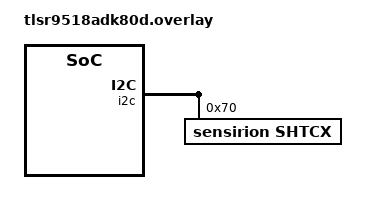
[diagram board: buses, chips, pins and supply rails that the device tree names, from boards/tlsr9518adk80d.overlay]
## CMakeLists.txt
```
#
# Copyright (c) 2018 Peter Bigot Consulting, LLC
#
# SPDX-License-Identifier: Apache-2.0
#

cmake_minimum_required(VERSION 3.20.0)
find_package(Zephyr REQUIRED HINTS $ENV{ZEPHYR_BASE})
project(shtcx)

FILE(GLOB app_sources src/*.c)
target_sources(app PRIVATE ${app_sources})
```

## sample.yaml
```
#
# Copyright (c) 2018 Peter Bigot Consulting, LLC
#
# SPDX-License-Identifier: Apache-2.0
#

sample:
  name: SHT3XD Sensor Sample
common:
  platform_allow: tlsr9518adk80d
  integration_platforms:
    - tlsr9518adk80d
  tags: sensors
  build_only: true
tests:
  sample.sensor.shtcx: {}
```

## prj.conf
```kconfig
#
# Copyright (c) 2018 Peter Bigot Consulting, LLC
#
# SPDX-License-Identifier: Apache-2.0
#

CONFIG_STDOUT_CONSOLE=y
CONFIG_I2C=y
CONFIG_SENSOR=y
CONFIG_CBPRINTF_FP_SUPPORT=y
CONFIG_SHT3XD_SINGLE_SHOT_MODE=y
```

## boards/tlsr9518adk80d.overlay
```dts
/*
 * Copyright (c) 2021 Telink Semiconductor
 *
 * SPDX-License-Identifier: Apache-2.0
 */

&i2c { /* SCL(PE1), SDA(PE3)*/
	shtcx@70 {
		compatible = "sensirion,shtcx";
		reg = <0x70>;
		chip = "shtc3";
		measure-mode = "normal";
		clock-stretching;
	};
};
```

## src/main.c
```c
/*
 * Copyright (c) 2018 Peter Bigot Consulting, LLC
 *
 * SPDX-License-Identifier: Apache-2.0
 */

#include <zephyr/kernel.h>
#include <zephyr/device.h>
#include <zephyr/drivers/sensor.h>
#include <stdio.h>
#include <zephyr/drivers/i2c.h>


#define ALERT_HUMIDITY_LO 50
#define ALERT_HUMIDITY_HI 60

int main(void)
{
	const struct device *const dev = DEVICE_DT_GET_ONE(sensirion_shtcx);
	int rc;

	if (!device_is_ready(dev)) {
		printf("Device %s is not ready\n", dev->name);
		return 0;
	}


	while (true) {
		struct sensor_value temp, hum;

		rc = sensor_sample_fetch(dev);
		if (rc == 0) {
			rc = sensor_channel_get(dev, SENSOR_CHAN_AMBIENT_TEMP,
						&temp);
		}
		if (rc == 0) {
			rc = sensor_channel_get(dev, SENSOR_CHAN_HUMIDITY,
						&hum);
		}
		if (rc != 0) {
			printf("SHTCX: failed: %d\n", rc);
			break;
		}

		printf("SHTCX: %.2f Cel ; %0.2f %%RH\n",
		       sensor_value_to_double(&temp),
		       sensor_value_to_double(&hum));

		k_sleep(K_MSEC(2000));
	}
	return 0;
}
```
